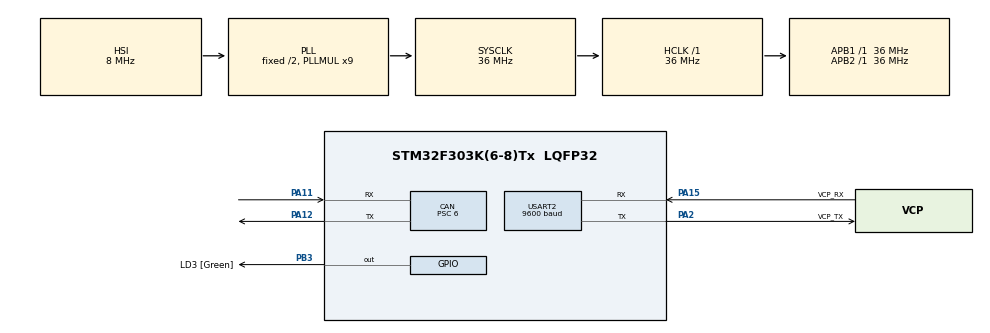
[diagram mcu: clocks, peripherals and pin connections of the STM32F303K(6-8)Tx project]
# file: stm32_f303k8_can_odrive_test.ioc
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CAN.BS1=CAN_BS1_10TQ
CAN.CalculateTimeQuantum=166.66666666666669
CAN.Prescaler=6
Mcu.Family=STM32F3
Mcu.Name=STM32F303K(6-8)Tx
Mcu.Package=LQFP32
NVIC.CAN_RX0_IRQn=true\:0\:0\:false\:false\:true\:true\:true
NVIC.CAN_TX_IRQn=true\:0\:0\:false\:false\:true\:true\:true
NVIC.PriorityGroup=NVIC_PRIORITYGROUP_4
NVIC.USART2_IRQn=true\:0\:0\:false\:false\:true\:true\:true
PA11.Mode=Master
PA11.Signal=CAN_RX
PA12.GPIO_PuPd=GPIO_PULLUP
PA12.Mode=Master
PA12.Signal=CAN_TX
PA13.GPIO_Label=SWDIO
PA13.Mode=Serial_Wire
PA13.Signal=SYS_JTMS-SWDIO
PA14.GPIO_Label=SWCLK
PA14.Mode=Serial_Wire
PA14.Signal=SYS_JTCK-SWCLK
PA15.GPIO_Label=VCP_RX
PA15.GPIO_PuPd=GPIO_NOPULL
PA15.Mode=Asynchronous
PA15.Signal=USART2_RX
PA2.GPIO_Label=VCP_TX
PA2.GPIO_PuPd=GPIO_NOPULL
PA2.Mode=Asynchronous
PA2.Signal=USART2_TX
PB3.GPIO_Label=LD3 [Green]
PB3.Signal=GPIO_Output
PF0\ /\ OSC_IN.GPIO_Label=MCO
PF0\ /\ OSC_IN.Mode=HSE-External-Clock-Source
PF0\ /\ OSC_IN.Signal=RCC_OSC_IN
ProjectManager.HeapSize=0x200
ProjectManager.StackSize=0x400
ProjectManager.TargetToolchain=STM32CubeIDE
RCC.AHBFreq_Value=36000000
RCC.APB1Freq_Value=36000000
RCC.APB1TimFreq_Value=36000000
RCC.APB2Freq_Value=36000000
RCC.APB2TimFreq_Value=36000000
RCC.CortexFreq_Value=36000000
RCC.HCLKFreq_Value=36000000
RCC.HSE_VALUE=8000000
RCC.HSI_VALUE=8000000
RCC.PLLMUL=RCC_PLL_MUL9
RCC.SYSCLKFreq_VALUE=36000000
RCC.SYSCLKSourceVirtual=RCC_SYSCLKSOURCE_PLLCLK
USART2.BaudRate=9600
USART2.VirtualMode-Asynchronous=VM_ASYNC
board=NUCLEO-F303K8

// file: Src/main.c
/* USER CODE BEGIN Header */
/**
  ******************************************************************************
  * @file           : main.c
  * @brief          : Main program body
  ******************************************************************************
  * @attention
  *
  * <h2><center>&copy; Copyright (c) 2019 STMicroelectronics.
  * All rights reserved.</center></h2>
  *
  * This software component is licensed by ST under BSD 3-Clause license,
  * the "License"; You may not use this file except in compliance with the
  * License. You may obtain a copy of the License at:
  *                        opensource.org/licenses/BSD-3-Clause
  *
  ******************************************************************************
  */
/* USER CODE END Header */

#include "main.h"

CAN_HandleTypeDef hcan;

UART_HandleTypeDef huart2;

/* USER CODE BEGIN PV */
CAN_FilterTypeDef sFilterConfig;
CAN_TxHeaderTypeDef TxHeader;
CAN_RxHeaderTypeDef RxHeader;
uint8_t TxData[8];
uint8_t RxData[8];
int set_point=10000;
uint32_t TxMailbox;
uint32_t get_pos_data = 0;

uint8_t motor_num = 1; //odrive axis id
//uint8_t control_mode = 0x00C;//control mode
uint8_t control_mode = 0x009;//get encoder
//uint8_t control_mode = 0x017;
/* USER CODE END PV */

void SystemClock_Config(void);
static void MX_GPIO_Init(void);
static void MX_USART2_UART_Init(void);
static void MX_CAN_Init(void);
/* USER CODE BEGIN PFP */
float bintofloat(uint32_t);

/* USER CODE END PFP */

/* USER CODE BEGIN 0 */
uint8_t uart_data;
char tx_data[]="getdata\r\n";
char tx_data1[]="encoder\r\n";
char tx_data2[]="vel\r\n";
int flag = 1;
char get_pos_data_str[40];
/* USER CODE END 0 */

int main(void)
{

  /* MCU Configuration--------------------------------------------------------*/

  /* Reset of all peripherals, Initializes the Flash interface and the Systick. */
  HAL_Init();

  /* Configure the system clock */
  SystemClock_Config();

  /* Initialize all configured peripherals */
  MX_GPIO_Init();
  MX_USART2_UART_Init();
  MX_CAN_Init();
  /* USER CODE BEGIN 2 */

  sFilterConfig.FilterBank = 0;
  sFilterConfig.FilterMode = CAN_FILTERMODE_IDMASK;
  sFilterConfig.FilterScale = CAN_FILTERSCALE_32BIT;
  sFilterConfig.FilterIdHigh = 0x0000;
  sFilterConfig.FilterIdLow = 0x0000;
  sFilterConfig.FilterMaskIdHigh = 0x0000;
  sFilterConfig.FilterMaskIdLow = 0x0000;
  sFilterConfig.FilterFIFOAssignment = CAN_RX_FIFO0;
  sFilterConfig.FilterActivation=ENABLE;
  sFilterConfig.SlaveStartFilterBank=14;

  if(HAL_CAN_ConfigFilter(&hcan,&sFilterConfig) != HAL_OK)
  {
    Error_Handler();
  }
  if(HAL_CAN_Start(&hcan)!=HAL_OK)
  {
    Error_Handler();
  }

  if(HAL_CAN_ActivateNotification(&hcan,CAN_IT_RX_FIFO0_MSG_PENDING | CAN_IT_TX_MAILBOX_EMPTY) != HAL_OK)
  {
	Error_Handler();
  }
  TxHeader.StdId=(motor_num << 5) + (control_mode);
  //TxHeader.ExtId=0;
  TxHeader.RTR = 2;//CAN_RTR_DATA;
  TxHeader.IDE = CAN_ID_STD;
  TxHeader.DLC = 0x08;
  TxHeader.TransmitGlobalTime = DISABLE;
  /*
  TxData[0] = set_point;
  TxData[1] = set_point >> 8;
  TxData[2] = set_point >> 16;
  TxData[3] = set_point >> 24;
  TxData[4] = 0;
  TxData[5] = 0;
  TxData[6] = 0;
  TxData[7] = 0;
  */
  TxData[0] = 0;
  TxData[1] = 0;
  TxData[2] = 0;
  TxData[3] = 0;
  TxData[4] = 0;
  TxData[5] = 0;
  TxData[6] = 0;
  TxData[7] = 0;

  /* USER CODE END 2 */

  /* Infinite loop */
  while (1)
  {

    /* USER CODE BEGIN 3 */
	HAL_CAN_AddTxMessage(&hcan,&TxHeader,TxData,&TxMailbox);
	HAL_Delay(100);
	sprintf(get_pos_data_str,"%f\r\n",bintofloat(get_pos_data));
	HAL_UART_Transmit(&huart2,get_pos_data_str,sizeof(get_pos_data_str),0xFFFF);
	/*
	  for(int j=0; j< 4; j++){
		  HAL_UART_Transmit(&huart2,&RxData[j],1,0xFFFF);
		  HAL_Delay(10);
	  }
	  //HAL_UART_Transmit(&huart2,tx_data,sizeof(tx_data),0xFFFF);
	  HAL_Delay(10);
	//HAL_UART_Transmit(&huart2,RxData,8,0xFFFF);
	  for(int j=4; j< 8; j++){
		  HAL_UART_Transmit(&huart2,&RxData[j],1,0xFFFF);
		  HAL_Delay(10);
	  }
	  HAL_UART_Transmit(&huart2,tx_data,sizeof(tx_data),0xFFFF);
	  HAL_Delay(10);
	  */
  }
  /* USER CODE END 3 */
}

void SystemClock_Config(void)
{
  RCC_OscInitTypeDef RCC_OscInitStruct = {0};
  RCC_ClkInitTypeDef RCC_ClkInitStruct = {0};

  /** Initializes the CPU, AHB and APB busses clocks
  */
  RCC_OscInitStruct.OscillatorType = RCC_OSCILLATORTYPE_HSI;
  RCC_OscInitStruct.HSIState = RCC_HSI_ON;
  RCC_OscInitStruct.HSICalibrationValue = RCC_HSICALIBRATION_DEFAULT;
  RCC_OscInitStruct.PLL.PLLState = RCC_PLL_ON;
  RCC_OscInitStruct.PLL.PLLSource = RCC_PLLSOURCE_HSI;
  RCC_OscInitStruct.PLL.PLLMUL = RCC_PLL_MUL9;
  if (HAL_RCC_OscConfig(&RCC_OscInitStruct) != HAL_OK)
  {
    Error_Handler();
  }
  /** Initializes the CPU, AHB and APB busses clocks
  */
  RCC_ClkInitStruct.ClockType = RCC_CLOCKTYPE_HCLK|RCC_CLOCKTYPE_SYSCLK
                              |RCC_CLOCKTYPE_PCLK1|RCC_CLOCKTYPE_PCLK2;
  RCC_ClkInitStruct.SYSCLKSource = RCC_SYSCLKSOURCE_PLLCLK;
  RCC_ClkInitStruct.AHBCLKDivider = RCC_SYSCLK_DIV1;
  RCC_ClkInitStruct.APB1CLKDivider = RCC_HCLK_DIV1;
  RCC_ClkInitStruct.APB2CLKDivider = RCC_HCLK_DIV1;

  if (HAL_RCC_ClockConfig(&RCC_ClkInitStruct, FLASH_LATENCY_1) != HAL_OK)
  {
    Error_Handler();
  }
}

static void MX_CAN_Init(void)
{

  hcan.Instance = CAN;
  hcan.Init.Prescaler = 6;
  hcan.Init.Mode = CAN_MODE_NORMAL;
  hcan.Init.SyncJumpWidth = CAN_SJW_1TQ;
  hcan.Init.TimeSeg1 = CAN_BS1_10TQ;
  hcan.Init.TimeSeg2 = CAN_BS2_1TQ;
  hcan.Init.TimeTriggeredMode = DISABLE;
  hcan.Init.AutoBusOff = DISABLE;
  hcan.Init.AutoWakeUp = DISABLE;
  hcan.Init.AutoRetransmission = DISABLE;
  hcan.Init.ReceiveFifoLocked = DISABLE;
  hcan.Init.TransmitFifoPriority = DISABLE;
  if (HAL_CAN_Init(&hcan) != HAL_OK)
  {
    Error_Handler();
  }

}

static void MX_USART2_UART_Init(void)
{

  huart2.Instance = USART2;
  huart2.Init.BaudRate = 9600;
  huart2.Init.WordLength = UART_WORDLENGTH_8B;
  huart2.Init.StopBits = UART_STOPBITS_1;
  huart2.Init.Parity = UART_PARITY_NONE;
  huart2.Init.Mode = UART_MODE_TX_RX;
  huart2.Init.HwFlowCtl = UART_HWCONTROL_NONE;
  huart2.Init.OverSampling = UART_OVERSAMPLING_16;
  huart2.Init.OneBitSampling = UART_ONE_BIT_SAMPLE_DISABLE;
  huart2.AdvancedInit.AdvFeatureInit = UART_ADVFEATURE_NO_INIT;
  if (HAL_UART_Init(&huart2) != HAL_OK)
  {
    Error_Handler();
  }

}

static void MX_GPIO_Init(void)
{
  GPIO_InitTypeDef GPIO_InitStruct = {0};

  /* GPIO Ports Clock Enable */
  __HAL_RCC_GPIOF_CLK_ENABLE();
  __HAL_RCC_GPIOA_CLK_ENABLE();
  __HAL_RCC_GPIOB_CLK_ENABLE();

  /*Configure GPIO pin Output Level */
  HAL_GPIO_WritePin(LD3_GPIO_Port, LD3_Pin, GPIO_PIN_RESET);

  /*Configure GPIO pin : LD3_Pin */
  GPIO_InitStruct.Pin = LD3_Pin;
  GPIO_InitStruct.Mode = GPIO_MODE_OUTPUT_PP;
  GPIO_InitStruct.Pull = GPIO_NOPULL;
  GPIO_InitStruct.Speed = GPIO_SPEED_FREQ_LOW;
  HAL_GPIO_Init(LD3_GPIO_Port, &GPIO_InitStruct);

}

/* USER CODE BEGIN 4 */
void HAL_CAN_TxMailbox0CompleteCallack(CAN_HandleTypeDef *hcan)
{
	  HAL_GPIO_WritePin(GPIOB,GPIO_PIN_3,1);
}

void HAL_CAN_RxFifo0MsgPendingCallback(CAN_HandleTypeDef *hcan_)
{
  HAL_CAN_GetRxMessage(&hcan,CAN_RX_FIFO0,&RxHeader,RxData);
  get_pos_data =(
		  ((RxData[3] << 24) & 0xFF000000)
		| ((RxData[2] << 16) & 0x00FF0000)
		| ((RxData[1] << 8)  & 0x0000FF00)
		| ((RxData[0] << 0)  & 0x000000FF)
   );
  //get_pos_data = get_pos_data_buf;

  //HAL_UART_Transmit(&huart2,&RxHeader.StdId,sizeof(&RxHeader.StdId),0xFFFF);

  /*
  for(int j=0; j< 4; j++){
	  HAL_UART_Transmit(&huart2,&RxData[j],1,0xFFFF);
	  HAL_Delay(10);
  }
*/
  //HAL_UART_Transmit(&huart2,RxData,4,0xFFFF);

  flag *= -1;
  if(flag >0){
	  HAL_GPIO_WritePin(GPIOB,GPIO_PIN_3,1);
  }else{
	  HAL_GPIO_WritePin(GPIOB,GPIO_PIN_3,0);
  }

}

float bintofloat(uint32_t x){
	float f = 0.0f;
	memcpy(&f, &x, sizeof(f) < sizeof(x) ? sizeof(f): sizeof(x));
	return f;
}

/* USER CODE END 4 */

void Error_Handler(void)
{
}

/************************ (C) COPYRIGHT STMicroelectronics *****END OF FILE****/
